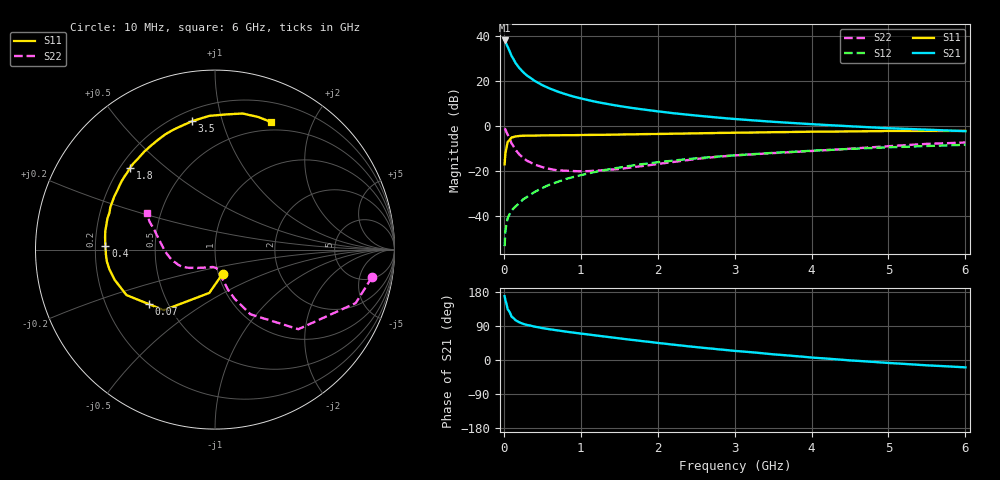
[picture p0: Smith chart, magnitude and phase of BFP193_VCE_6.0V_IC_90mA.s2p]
! Infineon Technologies  Discrete & RF Semiconductors
! BFP193
! VCE =  6.0 V,  IC =  90 mA
! Common Emitter S-Parameters:  Jan 2017
# GHz  S  MA  R  50
!  f  S11  S21  S12  S22
! GHz  MAG  ANG  MAG  ANG  MAG  ANG  MAG  ANG
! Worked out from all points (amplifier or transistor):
!   77 points, 10 MHz to 6 GHz, reference 50 ohm
!   highest |S21| = 38.1 dB at 10 MHz (marker M1)
!   |S21| within 3 dB of that: start of sweep to 51.77 MHz
!   unconditionally stable (mu >= 1): 340.3 MHz to 2.546 GHz
!   at 130 MHz: K = 0.73, MSG = 33.0 dB, |S12| = -36.6 dB
!   at 2.2 GHz: K = 1.02, MAG = 9.8 dB, |S12| = -15.4 dB
!   at 6 GHz: K = 0.93, MSG = 3.0 dB, |S12| = -8.4 dB
!   S11 on the Smith chart (normalised r, x): 10 MHz: 1.05, -0.29; 70 MHz: 0.39, -0.31; 400 MHz: 0.24, +0.02; 1.8 GHz: 0.24, +0.38; 3.5 GHz: 0.26, +0.80; 6 GHz: 0.41, +1.46
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0.01  0.1404 -72.1  80.35 168.4  0.0021 84.3  0.8881 -9.9
0.02  0.2433 -97.5  76.86 157.9  0.0045 79.3  0.8387 -20.8
0.05  0.4418 -130.2  57.73 133.8  0.0088 63.2  0.642 -43.7
0.07  0.4775 -140.5  48.61 128.1  0.0105 61.9  0.5441 -48.9
0.1  0.5545 -152.8  36.4 114.4  0.013 60.5  0.4109 -61.3
0.15  0.5841 -163.3  25.66 105.2  0.016 60.0  0.2966 -68.1
0.2  0.5985 -169.3  19.67 99.6  0.019 64.1  0.2337 -72.1
0.25  0.6061 -173.8  15.9 95.4  0.0231 66.7  0.1952 -74.0
0.3  0.6082 -177.1  13.31 92.6  0.0262 68.5  0.1685 -75.8
0.4  0.6112 177.9  10.1 87.9  0.0337 70.9  0.1381 -77.9
0.5  0.6161 173.7  8.107 84.2  0.0415 71.4  0.1213 -80.7
0.7  0.6207 167.1  5.832 78.1  0.0568 71.7  0.1023 -85.9
0.9  0.6229 160.8  4.547 72.4  0.0727 70.0  0.0991 -93.1
1.1  0.6311 155.1  3.754 67.3  0.0878 68.7  0.0988 -100.7
1.4  0.6394 146.8  2.978 59.6  0.111 65.6  0.1067 -113.1
1.8  0.6572 136.0  2.348 49.8  0.1411 60.5  0.1283 -128.1
2.1  0.6673 128.4  2.022 42.9  0.1624 56.7  0.1498 -137.2
3.1  0.7099 107.3  1.39 22.5  0.2276 43.9  0.2261 -159.5
3.5  0.7268 100.2  1.239 15.0  0.2516 39.3  0.249 -167.0
4.1  0.747 90.9  1.073 5.1  0.2858 31.9  0.2835 179.9
5.1  0.7737 77.2  0.878 -9.0  0.3388 20.1  0.3626 161.0
6  0.7763 66.1  0.766 -19.4  0.3804 9.8  0.4279 151.8
